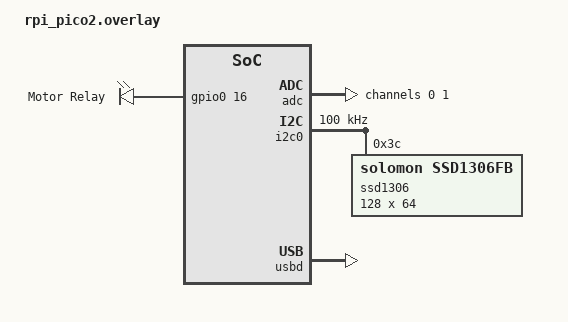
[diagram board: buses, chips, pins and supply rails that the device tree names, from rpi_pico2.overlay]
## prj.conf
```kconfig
# Enable logging
CONFIG_LOG=y
CONFIG_LOG_PRINTK=y
CONFIG_LOG_DEFAULT_LEVEL=3

# Enable console for debug output
CONFIG_CONSOLE=y
CONFIG_UART_CONSOLE=y

# Enable GPIO
CONFIG_GPIO=y

# Enable ADC
CONFIG_ADC=y

# Enable I2C
CONFIG_I2C=y

# Enable math library for floating point
CONFIG_NEWLIB_LIBC=y
CONFIG_NEWLIB_LIBC_FLOAT_PRINTF=y
CONFIG_NEWLIB_LIBC_FLOAT_SCANF=y

# Enable FPU for better float performance
CONFIG_FPU=y

# System settings
CONFIG_MAIN_STACK_SIZE=2048
CONFIG_HEAP_MEM_POOL_SIZE=8192

# Enable threading and timing
CONFIG_MULTITHREADING=y
CONFIG_SYS_CLOCK_TICKS_PER_SEC=1000

# Power management (optional)
# CONFIG_PM=y
# CONFIG_PM_DEVICE=y
```

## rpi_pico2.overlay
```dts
/*
 * Pin Connections:
 * ADC0 (GPIO26) - Voltage Sensor Input
 * ADC1 (GPIO27) - Current Sensor Input
 * GPIO16        - Relay Control Output
 * GPIO4 (SDA)   - I2C0 Data for SSD1306
 * GPIO5 (SCL)   - I2C0 Clock for SSD1306
 */

/ {
    aliases {
        relay = &relay_output;
    };

    relay_output: relay-output {
        compatible = "gpio-leds";
        relay: relay_0 {
            gpios = <&gpio0 16 GPIO_ACTIVE_HIGH>;
            label = "Motor Relay";
        };
    };
};

&adc {
    status = "okay";
    #address-cells = <1>;
    #size-cells = <0>;

    channel@0 {
        reg = <0>;
        zephyr,gain = "ADC_GAIN_1";
        zephyr,reference = "ADC_REF_INTERNAL";
        zephyr,acquisition-time = <ADC_ACQ_TIME_DEFAULT>;
        zephyr,resolution = <12>;
    };

    channel@1 {
        reg = <1>;
        zephyr,gain = "ADC_GAIN_1";
        zephyr,reference = "ADC_REF_INTERNAL";
        zephyr,acquisition-time = <ADC_ACQ_TIME_DEFAULT>;
        zephyr,resolution = <12>;
    };
};

&i2c0 {
    status = "okay";
    clock-frequency = <I2C_BITRATE_STANDARD>;
    pinctrl-0 = <&i2c0_default>;
    pinctrl-names = "default";

    ssd1306: ssd1306@3c {
        compatible = "solomon,ssd1306fb";
        reg = <0x3c>;
        width = <128>;
        height = <64>;
        segment-offset = <0>;
        page-offset = <0>;
        display-offset = <0>;
        multiplex-ratio = <63>;
        prechargep = <0xf1>;
    };
};

&pinctrl {
    i2c0_default: i2c0_default {
        group1 {
            pinmux = <I2C0_SDA_P4>, <I2C0_SCL_P5>;
            input-enable;
            input-schmitt-enable;
        };
    };
};

&gpio0 {
    status = "okay";
};

/* USB for debug console (optional) */
&usbd {
    status = "okay";
};
```

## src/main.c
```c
/*
 * Zephyr RTOS Power Monitor for Raspberry Pi Pico 2W
 * Features: Over/Under Voltage and Current Protection with SSD1306 Display
 */

#include <zephyr/kernel.h>
#include <zephyr/device.h>
#include <zephyr/drivers/gpio.h>
#include <zephyr/drivers/adc.h>
#include <zephyr/drivers/i2c.h>
#include <zephyr/logging/log.h>
#include <stdio.h>
#include <string.h>

LOG_MODULE_REGISTER(power_monitor, LOG_LEVEL_INF);

/* Configuration Parameters - Adjust these as needed */
#define VOLTAGE_MIN          10.5f   // Minimum voltage threshold (V)
#define VOLTAGE_MAX          14.5f   // Maximum voltage threshold (V)
#define CURRENT_MIN          0.1f    // Minimum current threshold (A)
#define CURRENT_MAX          2.0f    // Maximum current threshold (A)

/* ADC Configuration */
#define ADC_NODE             DT_NODELABEL(adc)
#define ADC_VOLTAGE_CHANNEL  0
#define ADC_CURRENT_CHANNEL  1
#define ADC_RESOLUTION       12
#define ADC_GAIN             ADC_GAIN_1
#define ADC_REFERENCE        ADC_REF_INTERNAL
#define ADC_ACQUISITION_TIME ADC_ACQ_TIME_DEFAULT
#define ADC_VREF_MV          3300    // 3.3V reference

/* Relay GPIO Configuration */
#define RELAY_NODE           DT_NODELABEL(gpio0)
#define RELAY_PIN            16

/* I2C and SSD1306 Configuration */
#define I2C_NODE             DT_NODELABEL(i2c0)
#define SSD1306_ADDR         0x3C
#define SSD1306_WIDTH        128
#define SSD1306_HEIGHT       64

/* Sample timing */
#define SAMPLE_INTERVAL_MS   100
#define DISPLAY_UPDATE_MS    200

/* SSD1306 Commands */
#define SSD1306_SETCONTRAST          0x81
#define SSD1306_DISPLAYALLON_RESUME  0xA4
#define SSD1306_DISPLAYALLON         0xA5
#define SSD1306_NORMALDISPLAY        0xA6
#define SSD1306_INVERTDISPLAY        0xA7
#define SSD1306_DISPLAYOFF           0xAE
#define SSD1306_DISPLAYON            0xAF
#define SSD1306_SETDISPLAYOFFSET     0xD3
#define SSD1306_SETCOMPINS           0xDA
#define SSD1306_SETVCOMDETECT        0xDB
#define SSD1306_SETDISPLAYCLOCKDIV   0xD5
#define SSD1306_SETPRECHARGE         0xD9
#define SSD1306_SETMULTIPLEX         0xA8
#define SSD1306_SETLOWCOLUMN         0x00
#define SSD1306_SETHIGHCOLUMN        0x10
#define SSD1306_SETSTARTLINE         0x40
#define SSD1306_MEMORYMODE           0x20
#define SSD1306_COLUMNADDR           0x21
#define SSD1306_PAGEADDR             0x22
#define SSD1306_COMSCANINC           0xC0
#define SSD1306_COMSCANDEC           0xC8
#define SSD1306_SEGREMAP             0xA0
#define SSD1306_CHARGEPUMP           0x8D

/* Global variables */
static const struct device *adc_dev;
static const struct device *relay_dev;
static const struct device *i2c_dev;
static struct gpio_dt_spec relay_spec;

static float voltage = 0.0f;
static float current = 0.0f;
static bool relay_state = false;
static bool fault_state = false;
static char fault_msg[32] = "OK";

/* Display buffer (1024 bytes for 128x64 monochrome) */
static uint8_t display_buffer[SSD1306_WIDTH * SSD1306_HEIGHT / 8];

/* 5x7 font (basic ASCII 32-127) */
static const uint8_t font5x7[][5] = {
    {0x00, 0x00, 0x00, 0x00, 0x00}, // Space
    {0x00, 0x00, 0x5F, 0x00, 0x00}, // !
    {0x00, 0x07, 0x00, 0x07, 0x00}, // "
    {0x14, 0x7F, 0x14, 0x7F, 0x14}, // #
    {0x24, 0x2A, 0x7F, 0x2A, 0x12}, // $
    {0x23, 0x13, 0x08, 0x64, 0x62}, // %
    {0x36, 0x49, 0x55, 0x22, 0x50}, // &
    {0x00, 0x05, 0x03, 0x00, 0x00}, // '
    {0x00, 0x1C, 0x22, 0x41, 0x00}, // (
    {0x00, 0x41, 0x22, 0x1C, 0x00}, // )
    {0x14, 0x08, 0x3E, 0x08, 0x14}, // *
    {0x08, 0x08, 0x3E, 0x08, 0x08}, // +
    {0x00, 0x50, 0x30, 0x00, 0x00}, // ,
    {0x08, 0x08, 0x08, 0x08, 0x08}, // -
    {0x00, 0x60, 0x60, 0x00, 0x00}, // .
    {0x20, 0x10, 0x08, 0x04, 0x02}, // /
    {0x3E, 0x51, 0x49, 0x45, 0x3E}, // 0
    {0x00, 0x42, 0x7F, 0x40, 0x00}, // 1
    {0x42, 0x61, 0x51, 0x49, 0x46}, // 2
    {0x21, 0x41, 0x45, 0x4B, 0x31}, // 3
    {0x18, 0x14, 0x12, 0x7F, 0x10}, // 4
    {0x27, 0x45, 0x45, 0x45, 0x39}, // 5
    {0x3C, 0x4A, 0x49, 0x49, 0x30}, // 6
    {0x01, 0x71, 0x09, 0x05, 0x03}, // 7
    {0x36, 0x49, 0x49, 0x49, 0x36}, // 8
    {0x06, 0x49, 0x49, 0x29, 0x1E}, // 9
    {0x00, 0x36, 0x36, 0x00, 0x00}, // :
    {0x00, 0x56, 0x36, 0x00, 0x00}, // ;
    {0x08, 0x14, 0x22, 0x41, 0x00}, // <
    {0x14, 0x14, 0x14, 0x14, 0x14}, // =
    {0x00, 0x41, 0x22, 0x14, 0x08}, // >
    {0x02, 0x01, 0x51, 0x09, 0x06}, // ?
    {0x32, 0x49, 0x79, 0x41, 0x3E}, // @
    {0x7E, 0x11, 0x11, 0x11, 0x7E}, // A
    {0x7F, 0x49, 0x49, 0x49, 0x36}, // B
    {0x3E, 0x41, 0x41, 0x41, 0x22}, // C
    {0x7F, 0x41, 0x41, 0x22, 0x1C}, // D
    {0x7F, 0x49, 0x49, 0x49, 0x41}, // E
    {0x7F, 0x09, 0x09, 0x09, 0x01}, // F
    {0x3E, 0x41, 0x49, 0x49, 0x7A}, // G
    {0x7F, 0x08, 0x08, 0x08, 0x7F}, // H
    {0x00, 0x41, 0x7F, 0x41, 0x00}, // I
    {0x20, 0x40, 0x41, 0x3F, 0x01}, // J
    {0x7F, 0x08, 0x14, 0x22, 0x41}, // K
    {0x7F, 0x40, 0x40, 0x40, 0x40}, // L
    {0x7F, 0x02, 0x0C, 0x02, 0x7F}, // M
    {0x7F, 0x04, 0x08, 0x10, 0x7F}, // N
    {0x3E, 0x41, 0x41, 0x41, 0x3E}, // O
    {0x7F, 0x09, 0x09, 0x09, 0x06}, // P
    {0x3E, 0x41, 0x51, 0x21, 0x5E}, // Q
    {0x7F, 0x09, 0x19, 0x29, 0x46}, // R
    {0x46, 0x49, 0x49, 0x49, 0x31}, // S
    {0x01, 0x01, 0x7F, 0x01, 0x01}, // T
    {0x3F, 0x40, 0x40, 0x40, 0x3F}, // U
    {0x1F, 0x20, 0x40, 0x20, 0x1F}, // V
    {0x3F, 0x40, 0x38, 0x40, 0x3F}, // W
    {0x63, 0x14, 0x08, 0x14, 0x63}, // X
    {0x07, 0x08, 0x70, 0x08, 0x07}, // Y
    {0x61, 0x51, 0x49, 0x45, 0x43}, // Z
};

/* Function prototypes */
static int ssd1306_init(void);
static void ssd1306_command(uint8_t cmd);
static void ssd1306_clear(void);
static void ssd1306_draw_char(int16_t x, int16_t y, char c, uint8_t size);
static void ssd1306_draw_string(int16_t x, int16_t y, const char *str, uint8_t size);
static void ssd1306_display(void);
static void update_display(void);
static float read_adc_channel(uint8_t channel);
static void check_thresholds(void);
static void set_relay(bool state);

/* I2C write helper */
static int i2c_write_bytes(uint8_t addr, const uint8_t *data, size_t len)
{
    return i2c_write(i2c_dev, data, len, addr);
}

/* SSD1306 command sender */
static void ssd1306_command(uint8_t cmd)
{
    uint8_t buf[2] = {0x00, cmd};
    i2c_write_bytes(SSD1306_ADDR, buf, 2);
}

/* Initialize SSD1306 display */
static int ssd1306_init(void)
{
    k_msleep(100);
    
    ssd1306_command(SSD1306_DISPLAYOFF);
    ssd1306_command(SSD1306_SETDISPLAYCLOCKDIV);
    ssd1306_command(0x80);
    ssd1306_command(SSD1306_SETMULTIPLEX);
    ssd1306_command(SSD1306_HEIGHT - 1);
    ssd1306_command(SSD1306_SETDISPLAYOFFSET);
    ssd1306_command(0x00);
    ssd1306_command(SSD1306_SETSTARTLINE | 0x00);
    ssd1306_command(SSD1306_CHARGEPUMP);
    ssd1306_command(0x14);
    ssd1306_command(SSD1306_MEMORYMODE);
    ssd1306_command(0x00);
    ssd1306_command(SSD1306_SEGREMAP | 0x01);
    ssd1306_command(SSD1306_COMSCANDEC);
    ssd1306_command(SSD1306_SETCOMPINS);
    ssd1306_command(0x12);
    ssd1306_command(SSD1306_SETCONTRAST);
    ssd1306_command(0xCF);
    ssd1306_command(SSD1306_SETPRECHARGE);
    ssd1306_command(0xF1);
    ssd1306_command(SSD1306_SETVCOMDETECT);
    ssd1306_command(0x40);
    ssd1306_command(SSD1306_DISPLAYALLON_RESUME);
    ssd1306_command(SSD1306_NORMALDISPLAY);
    ssd1306_command(SSD1306_DISPLAYON);
    
    ssd1306_clear();
    return 0;
}

/* Clear display buffer */
static void ssd1306_clear(void)
{
    memset(display_buffer, 0, sizeof(display_buffer));
}

/* Draw a character */
static void ssd1306_draw_char(int16_t x, int16_t y, char c, uint8_t size)
{
    if (c < 32 || c > 90) c = 32;
    
    for (uint8_t i = 0; i < 5; i++) {
        uint8_t line = font5x7[c - 32][i];
        for (uint8_t j = 0; j < 8; j++, line >>= 1) {
            if (line & 1) {
                for (uint8_t sx = 0; sx < size; sx++) {
                    for (uint8_t sy = 0; sy < size; sy++) {
                        int16_t px = x + i * size + sx;
                        int16_t py = y + j * size + sy;
                        if (px >= 0 && px < SSD1306_WIDTH && py >= 0 && py < SSD1306_HEIGHT) {
                            display_buffer[px + (py / 8) * SSD1306_WIDTH] |= (1 << (py & 7));
                        }
                    }
                }
            }
        }
    }
}

/* Draw a string */
static void ssd1306_draw_string(int16_t x, int16_t y, const char *str, uint8_t size)
{
    while (*str) {
        ssd1306_draw_char(x, y, *str++, size);
        x += 6 * size;
    }
}

/* Send buffer to display */
static void ssd1306_display(void)
{
    ssd1306_command(SSD1306_COLUMNADDR);
    ssd1306_command(0);
    ssd1306_command(SSD1306_WIDTH - 1);
    ssd1306_command(SSD1306_PAGEADDR);
    ssd1306_command(0);
    ssd1306_command((SSD1306_HEIGHT / 8) - 1);
    
    for (uint16_t i = 0; i < sizeof(display_buffer); i += 16) {
        uint8_t buf[17];
        buf[0] = 0x40;
        memcpy(&buf[1], &display_buffer[i], 16);
        i2c_write_bytes(SSD1306_ADDR, buf, 17);
    }
}

/* Read ADC channel and convert to meaningful value */
static float read_adc_channel(uint8_t channel)
{
    struct adc_channel_cfg ch_cfg = {
        .gain = ADC_GAIN,
        .reference = ADC_REFERENCE,
        .acquisition_time = ADC_ACQUISITION_TIME,
        .channel_id = channel,
        .differential = 0
    };
    
    adc_channel_setup(adc_dev, &ch_cfg);
    
    uint16_t sample_buffer;
    struct adc_sequence sequence = {
        .channels = BIT(channel),
        .buffer = &sample_buffer,
        .buffer_size = sizeof(sample_buffer),
        .resolution = ADC_RESOLUTION,
    };
    
    int ret = adc_read(adc_dev, &sequence);
    if (ret != 0) {
        return 0.0f;
    }
    
    float adc_voltage = (float)sample_buffer * ADC_VREF_MV / 4096.0f / 1000.0f;
    
    if (channel == ADC_VOLTAGE_CHANNEL) {
        // Assuming voltage divider: adjust multiplier for your circuit
        return adc_voltage * 5.0f;  // Example: 5:1 voltage divider
    } else {
        // Current sensor (e.g., ACS712): adjust for your sensor
        // ACS712-05B: 185mV/A, centered at 2.5V
        return (adc_voltage - 2.5f) / 0.185f;
    }
}

/* Check voltage and current thresholds */
static void check_thresholds(void)
{
    bool fault = false;
    
    if (voltage < VOLTAGE_MIN) {
        snprintf(fault_msg, sizeof(fault_msg), "UNDER VOLTAGE");
        fault = true;
    } else if (voltage > VOLTAGE_MAX) {
        snprintf(fault_msg, sizeof(fault_msg), "OVER VOLTAGE");
        fault = true;
    } else if (current < CURRENT_MIN) {
        snprintf(fault_msg, sizeof(fault_msg), "UNDER CURRENT");
        fault = true;
    } else if (current >= CURRENT_MAX) {
        snprintf(fault_msg, sizeof(fault_msg), "OVER CURRENT");
        fault = true;
    } else {
        snprintf(fault_msg, sizeof(fault_msg), "OK");
    }
    
    if (fault && !fault_state) {
        set_relay(false);
        fault_state = true;
        LOG_WRN("Fault detected: %s", fault_msg);
    } else if (!fault && fault_state) {
        set_relay(true);
        fault_state = false;
        LOG_INF("Fault cleared");
    }
}

/* Control relay */
static void set_relay(bool state)
{
    gpio_pin_set_dt(&relay_spec, state ? 1 : 0);
    relay_state = state;
}

/* Update display with current readings */
static void update_display(void)
{
    char buf[32];
    
    ssd1306_clear();
    
    // Title
    ssd1306_draw_string(10, 2, "POWER MONITOR", 1);
    
    // Voltage
    snprintf(buf, sizeof(buf), "V: %.2fV", voltage);
    ssd1306_draw_string(5, 18, buf, 2);
    
    // Current
    snprintf(buf, sizeof(buf), "I: %.2fA", current);
    ssd1306_draw_string(5, 34, buf, 2);
    
    // Status
    ssd1306_draw_string(5, 50, relay_state ? "RELAY: ON" : "RELAY: OFF", 1);
    
    // Fault message
    if (fault_state) {
        ssd1306_draw_string(5, 58, fault_msg, 1);
    }
    
    ssd1306_display();
}

/* Main application */
int main(void)
{
    int ret;
    
    LOG_INF("Power Monitor Starting...");
    
    // Initialize ADC
    adc_dev = DEVICE_DT_GET(ADC_NODE);
    if (!device_is_ready(adc_dev)) {
        LOG_ERR("ADC device not ready");
        return -1;
    }
    
    // Initialize relay GPIO
    relay_dev = DEVICE_DT_GET(RELAY_NODE);
    relay_spec.port = relay_dev;
    relay_spec.pin = RELAY_PIN;
    relay_spec.dt_flags = GPIO_OUTPUT_INACTIVE;
    
    ret = gpio_pin_configure_dt(&relay_spec, GPIO_OUTPUT_INACTIVE);
    if (ret != 0) {
        LOG_ERR("Failed to configure relay GPIO");
        return -1;
    }
    
    // Initialize I2C
    i2c_dev = DEVICE_DT_GET(I2C_NODE);
    if (!device_is_ready(i2c_dev)) {
        LOG_ERR("I2C device not ready");
        return -1;
    }
    
    // Initialize display
    ret = ssd1306_init();
    if (ret != 0) {
        LOG_ERR("Failed to initialize display");
    }
    
    LOG_INF("Initialization complete");
    
    // Initial relay state
    set_relay(true);
    
    uint32_t last_display_update = 0;
    
    while (1) {
        // Read sensors
        voltage = read_adc_channel(ADC_VOLTAGE_CHANNEL);
        current = read_adc_channel(ADC_CURRENT_CHANNEL);
        
        // Check thresholds
        check_thresholds();
        
        // Update display periodically
        uint32_t now = k_uptime_get_32();
        if (now - last_display_update >= DISPLAY_UPDATE_MS) {
            update_display();
            last_display_update = now;
        }
        
        k_msleep(SAMPLE_INTERVAL_MS);
    }
    
    return 0;
}
```
